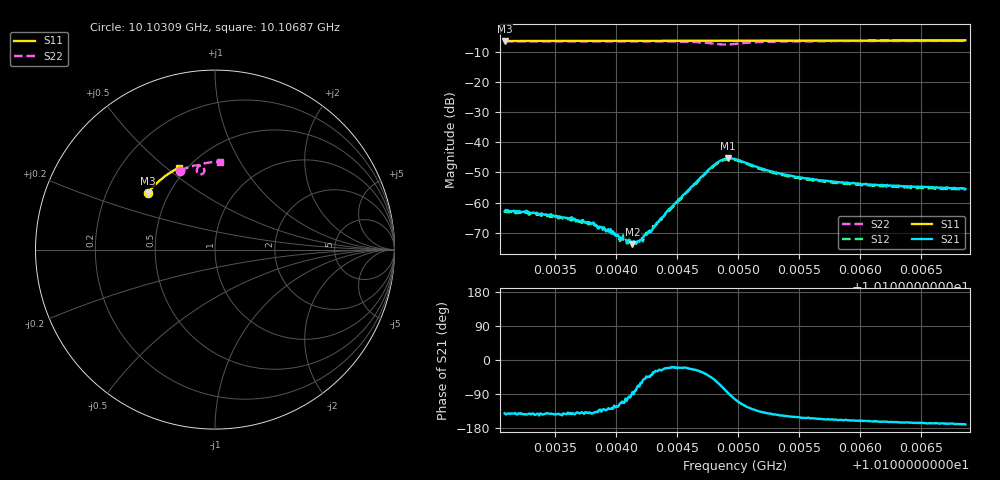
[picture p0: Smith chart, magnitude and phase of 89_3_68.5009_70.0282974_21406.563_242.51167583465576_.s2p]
#  HZ  S  RI  R  50.00
! Rohde & Schwarz Vector Network Analyzer
! Rohde-Schwarz,ZNB20-2Port,1311601062101988,3.16
! Created: UTC 3/20/2024, 4:52:35 PM
! freq[Hz]  re:S11  im:S11  re:S21  im:S21  re:S12  im:S12  re:S22  im:S22
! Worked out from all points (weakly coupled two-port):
!   401 points, 10.10309 GHz to 10.10687 GHz, reference 50 ohm
!   highest |S21| = -45.29 dB at 10.10492 GHz (marker M1); lowest = -73.9 dB at 10.10414 GHz (marker M2)
!   lowest |S11| = -6.2 dB at 10.10309 GHz (marker M3), VSWR 2.91, Z = 19.1 + j15.8 ohm
!   |S11| at or under -10 dB: nowhere
!   |S22| runs from -7.4 to -6.2 dB; largest |S21 - S12| = 0.00053
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1.0103087e10  -0.3745 0.3138  -0.000548 -0.000449  -0.000527 -0.000484  -0.1928 0.4406
1.0103267e10  -0.3678 0.3226  -0.000591 -0.000427  -0.000499 -0.000472  -0.1819 0.4459
1.0103626e10  -0.3536 0.3394  -0.000417 -0.000349  -0.000361 -0.000364  -0.1591 0.4552
1.010372e10  -0.3499 0.3437  -0.000373 -0.000339  -0.000309 -0.000334  -0.153 0.4574
1.0103805e10  -0.3466 0.3476  -0.000348 -0.000279  -0.000298 -0.000338  -0.1473 0.4596
1.0103975e10  -0.3395 0.3551  -0.000209 -0.000259  -0.000175 -0.000266  -0.1354 0.4632
1.0104023e10  -0.3373 0.357  -0.000141 -0.000237  -0.000125 -0.00023  -0.1319 0.4641
1.0104136e10  -0.3325 0.3619  1.87e-05 -0.0002  3.83e-05 -0.000203  -0.1234 0.4663
1.0104174e10  -0.3308 0.3636  7.32e-05 -0.000213  6.4e-05 -0.000207  -0.1205 0.467
1.0104202e10  -0.3297 0.3648  0.000124 -0.000217  0.000138 -0.000192  -0.1182 0.4674
1.0104306e10  -0.3252 0.3692  0.000318 -0.000196  0.000364 -0.000184  -0.1094 0.4688
1.0104353e10  -0.3231 0.3712  0.00043 -0.000207  0.000444 -0.000176  -0.105 0.4692
1.0104438e10  -0.3193 0.3747  0.000728 -0.000278  0.000698 -0.000187  -0.0968 0.4695
1.0104778e10  -0.3037 0.3884  0.00266 -0.00266  0.00275 -0.00235  -0.0591 0.4433
1.0104854e10  -0.3003 0.3911  0.00205 -0.0045  0.00235 -0.00412  -0.0653 0.4252
1.010492e10  -0.2974 0.3936  0.0003 -0.00543  0.000725 -0.00515  -0.083 0.4191
1.0104977e10  -0.2947 0.3957  -0.00126 -0.00513  -0.000778 -0.00503  -0.0962 0.4264
1.0105308e10  -0.2791 0.4084  -0.00257 -0.00185  -0.00229 -0.002  -0.0831 0.4699
1.010561e10  -0.2642 0.4191  -0.00221 -0.0011  -0.00199 -0.00123  -0.0582 0.4802
1.0105827e10  -0.2532 0.4263  -0.00203 -0.000804  -0.00187 -0.000961  -0.0419 0.4838
1.0106243e10  -0.2318 0.4396  -0.00183 -0.000528  -0.00172 -0.000696  -0.0128 0.4876
1.0106867e10  -0.1983 0.4571  -0.00166 -0.000291  -0.00158 -0.00044  0.0289 0.489
